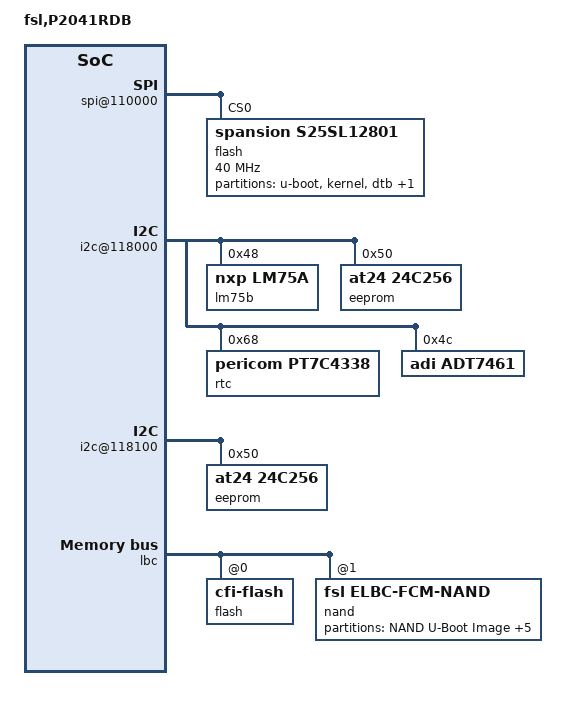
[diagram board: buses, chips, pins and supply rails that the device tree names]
/*
 * P2041RDB Device Tree Source
 *
 * Copyright 2011 - 2014 Freescale Semiconductor Inc.
 *
 * Redistribution and use in source and binary forms, with or without
 * modification, are permitted provided that the following conditions are met:
 *     * Redistributions of source code must retain the above copyright
 *       notice, this list of conditions and the following disclaimer.
 *     * Redistributions in binary form must reproduce the above copyright
 *       notice, this list of conditions and the following disclaimer in the
 *       documentation and/or other materials provided with the distribution.
 *     * Neither the name of Freescale Semiconductor nor the
 *       names of its contributors may be used to endorse or promote products
 *       derived from this software without specific prior written permission.
 *
 *
 * ALTERNATIVELY, this software may be distributed under the terms of the
 * GNU General Public License ("GPL") as published by the Free Software
 * Foundation, either version 2 of that License or (at your option) any
 * later version.
 *
 * THIS SOFTWARE IS PROVIDED BY Freescale Semiconductor ``AS IS'' AND ANY
 * EXPRESS OR IMPLIED WARRANTIES, INCLUDING, BUT NOT LIMITED TO, THE IMPLIED
 * WARRANTIES OF MERCHANTABILITY AND FITNESS FOR A PARTICULAR PURPOSE ARE
 * DISCLAIMED. IN NO EVENT SHALL Freescale Semiconductor BE LIABLE FOR ANY
 * DIRECT, INDIRECT, INCIDENTAL, SPECIAL, EXEMPLARY, OR CONSEQUENTIAL DAMAGES
 * (INCLUDING, BUT NOT LIMITED TO, PROCUREMENT OF SUBSTITUTE GOODS OR SERVICES;
 * LOSS OF USE, DATA, OR PROFITS; OR BUSINESS INTERRUPTION) HOWEVER CAUSED AND
 * ON ANY THEORY OF LIABILITY, WHETHER IN CONTRACT, STRICT LIABILITY, OR TORT
 * (INCLUDING NEGLIGENCE OR OTHERWISE) ARISING IN ANY WAY OUT OF THE USE OF THIS
 * SOFTWARE, EVEN IF ADVISED OF THE POSSIBILITY OF SUCH DAMAGE.
 */

/include/ "fsl/p2041si-pre.dtsi"

/ {
	model = "fsl,P2041RDB";
	compatible = "fsl,P2041RDB";
	#address-cells = <2>;
	#size-cells = <2>;
	interrupt-parent = <&mpic>;

	memory {
		device_type = "memory";
	};

	reserved-memory {
		#address-cells = <2>;
		#size-cells = <2>;
		ranges;

		bman_fbpr: bman-fbpr {
			size = <0 0x1000000>;
			alignment = <0 0x1000000>;
		};
		qman_fqd: qman-fqd {
			size = <0 0x400000>;
			alignment = <0 0x400000>;
		};
		qman_pfdr: qman-pfdr {
			size = <0 0x2000000>;
			alignment = <0 0x2000000>;
		};
	};

	dcsr: dcsr@f00000000 {
		ranges = <0x00000000 0xf 0x00000000 0x01008000>;
	};

	bportals: bman-portals@ff4000000 {
		ranges = <0x0 0xf 0xf4000000 0x200000>;
	};

	qportals: qman-portals@ff4200000 {
		ranges = <0x0 0xf 0xf4200000 0x200000>;
	};

	soc: soc@ffe000000 {
		ranges = <0x00000000 0xf 0xfe000000 0x1000000>;
		reg = <0xf 0xfe000000 0 0x00001000>;
		spi@110000 {
			flash@0 {
				#address-cells = <1>;
				#size-cells = <1>;
				compatible = "spansion,s25sl12801";
				reg = <0>;
				spi-max-frequency = <40000000>; /* input clock */
				partition@u-boot {
					label = "u-boot";
					reg = <0x00000000 0x00100000>;
					read-only;
				};
				partition@kernel {
					label = "kernel";
					reg = <0x00100000 0x00500000>;
					read-only;
				};
				partition@dtb {
					label = "dtb";
					reg = <0x00600000 0x00100000>;
					read-only;
				};
				partition@fs {
					label = "file system";
					reg = <0x00700000 0x00900000>;
				};
			};
		};

		i2c@118000 {
			lm75b@48 {
				compatible = "nxp,lm75a";
				reg = <0x48>;
			};
			eeprom@50 {
				compatible = "at24,24c256";
				reg = <0x50>;
			};
			rtc@68 {
				compatible = "pericom,pt7c4338";
				reg = <0x68>;
			};
			adt7461@4c {
				compatible = "adi,adt7461";
				reg = <0x4c>;
			};
		};

		i2c@118100 {
			eeprom@50 {
				compatible = "at24,24c256";
				reg = <0x50>;
			};
		};

		usb1: usb@211000 {
			dr_mode = "host";
		};
	};

	rio: rapidio@ffe0c0000 {
		reg = <0xf 0xfe0c0000 0 0x11000>;

		port1 {
			ranges = <0 0 0xc 0x20000000 0 0x10000000>;
		};
		port2 {
			ranges = <0 0 0xc 0x30000000 0 0x10000000>;
		};
	};

	lbc: localbus@ffe124000 {
		reg = <0xf 0xfe124000 0 0x1000>;
		ranges = <0 0 0xf 0xe8000000 0x08000000
			  1 0 0xf 0xffa00000 0x00040000>;

		flash@0,0 {
			compatible = "cfi-flash";
			reg = <0 0 0x08000000>;
			bank-width = <2>;
			device-width = <2>;
		};

		nand@1,0 {
			#address-cells = <1>;
			#size-cells = <1>;
			compatible = "fsl,elbc-fcm-nand";
			reg = <0x1 0x0 0x40000>;

			partition@0 {
				label = "NAND U-Boot Image";
				reg = <0x0 0x02000000>;
				read-only;
			};

			partition@2000000 {
				label = "NAND Root File System";
				reg = <0x02000000 0x10000000>;
			};

			partition@12000000 {
				label = "NAND Compressed RFS Image";
				reg = <0x12000000 0x08000000>;
			};

			partition@1a000000 {
				label = "NAND Linux Kernel Image";
				reg = <0x1a000000 0x04000000>;
			};

			partition@1e000000 {
				label = "NAND DTB Image";
				reg = <0x1e000000 0x01000000>;
			};

			partition@1f000000 {
				label = "NAND Writable User area";
				reg = <0x1f000000 0x01000000>;
			};
		};
	};

	pci0: pcie@ffe200000 {
		reg = <0xf 0xfe200000 0 0x1000>;
		ranges = <0x02000000 0 0xe0000000 0xc 0x00000000 0x0 0x20000000
			  0x01000000 0 0x00000000 0xf 0xf8000000 0x0 0x00010000>;
		pcie@0 {
			ranges = <0x02000000 0 0xe0000000
				  0x02000000 0 0xe0000000
				  0 0x20000000

				  0x01000000 0 0x00000000
				  0x01000000 0 0x00000000
				  0 0x00010000>;
		};
	};

	pci1: pcie@ffe201000 {
		reg = <0xf 0xfe201000 0 0x1000>;
		ranges = <0x02000000 0x0 0xe0000000 0xc 0x20000000 0x0 0x20000000
			  0x01000000 0x0 0x00000000 0xf 0xf8010000 0x0 0x00010000>;
		pcie@0 {
			ranges = <0x02000000 0 0xe0000000
				  0x02000000 0 0xe0000000
				  0 0x20000000

				  0x01000000 0 0x00000000
				  0x01000000 0 0x00000000
				  0 0x00010000>;
		};
	};

	pci2: pcie@ffe202000 {
		reg = <0xf 0xfe202000 0 0x1000>;
		ranges = <0x02000000 0 0xe0000000 0xc 0x40000000 0 0x20000000
			  0x01000000 0 0x00000000 0xf 0xf8020000 0 0x00010000>;
		pcie@0 {
			ranges = <0x02000000 0 0xe0000000
				  0x02000000 0 0xe0000000
				  0 0x20000000

				  0x01000000 0 0x00000000
				  0x01000000 0 0x00000000
				  0 0x00010000>;
		};
	};
};

/include/ "fsl/p2041si-post.dtsi"
